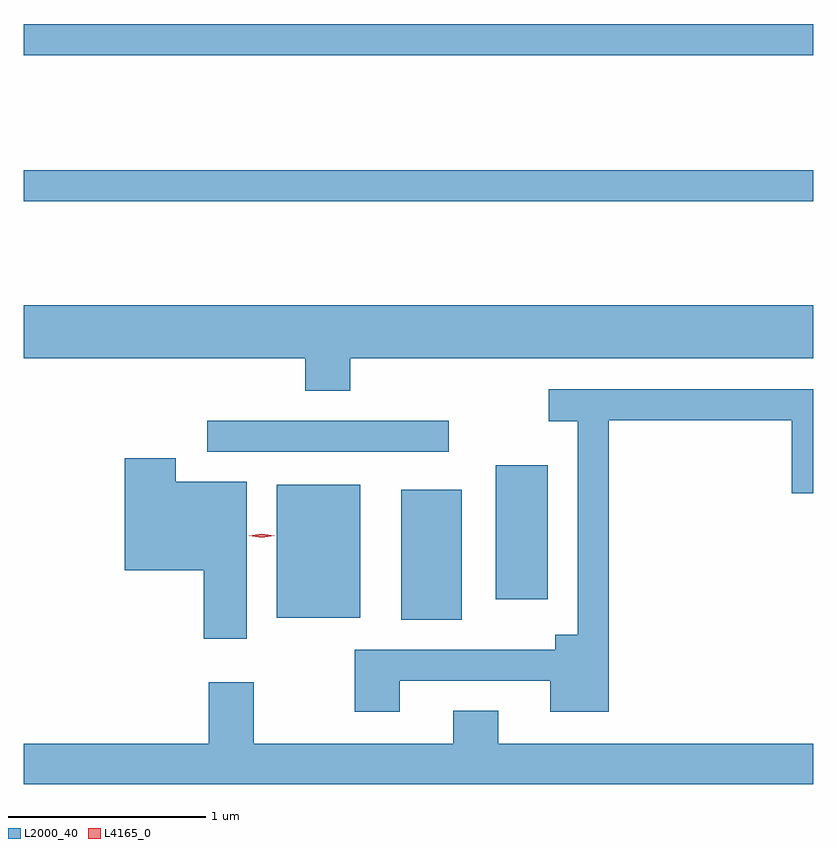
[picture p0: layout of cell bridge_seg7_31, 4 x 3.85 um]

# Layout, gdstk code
import gdstk
lib = gdstk.Library(unit=1e-6, precision=1e-09)
def R(c, l, rs):  # rectangles x0, y0, x1, y1
    for r in rs: c.add(gdstk.rectangle(r[:2], r[2:], *l))
def P(c, l, *ps):  # polygons
    for p in ps: c.add(gdstk.Polygon(p, *l))
L2000_40 = (2000, 40)
L4165_0 = (4165, 0)

bridge_seg7_31 = lib.new_cell('bridge_seg7_31')
R(bridge_seg7_31, L2000_40, [(1779.546,1777.371,1779.854,1778.029), (1778.916,1777.381,1779.339,1778.054), (1780.026,1777.476,1780.289,1778.154), (1778.563,1778.221,1779.788,1778.379), (1777.634,1779.491,1781.634,1779.649), (1777.634,1780.231,1781.634,1780.389)])
P(bridge_seg7_31, L2000_40, [(1779.289,1778.696),(1781.634,1778.696),(1781.634,1778.964),(1777.634,1778.964),(1777.634,1778.696),(1779.061,1778.696),(1779.061,1778.531),(1779.289,1778.531)],
  [(1779.539,1777.061),(1780.301,1777.061),(1780.301,1776.906),(1780.599,1776.906),(1780.599,1778.381),(1781.526,1778.381),(1781.526,1778.011),(1781.634,1778.011),(1781.634,1778.539),(1780.293,1778.539),(1780.293,1778.376),(1780.441,1778.376),(1780.441,1777.294),(1780.326,1777.294),(1780.326,1777.219),(1779.311,1777.219),(1779.311,1776.906),(1779.539,1776.906)],
  [(1778.764,1778.069),(1778.404,1778.069),(1778.404,1778.189),(1778.146,1778.189),(1778.146,1777.621),(1778.546,1777.621),(1778.546,1777.276),(1778.764,1777.276)],
  [(1778.571,1776.744),(1777.634,1776.744),(1777.634,1776.539),(1781.634,1776.539),(1781.634,1776.744),(1780.039,1776.744),(1780.039,1776.909),(1779.811,1776.909),(1779.811,1776.744),(1778.799,1776.744),(1778.799,1777.054),(1778.571,1777.054)])
P(bridge_seg7_31, L4165_0, [(1778.84,1777.786),(1778.773,1777.796),(1778.773,1777.796),(1778.773,1777.797),(1778.84,1777.806),(1778.906,1777.797),(1778.906,1777.796),(1778.906,1777.796)])

lib.write_gds('bridge_seg7_31.gds')
